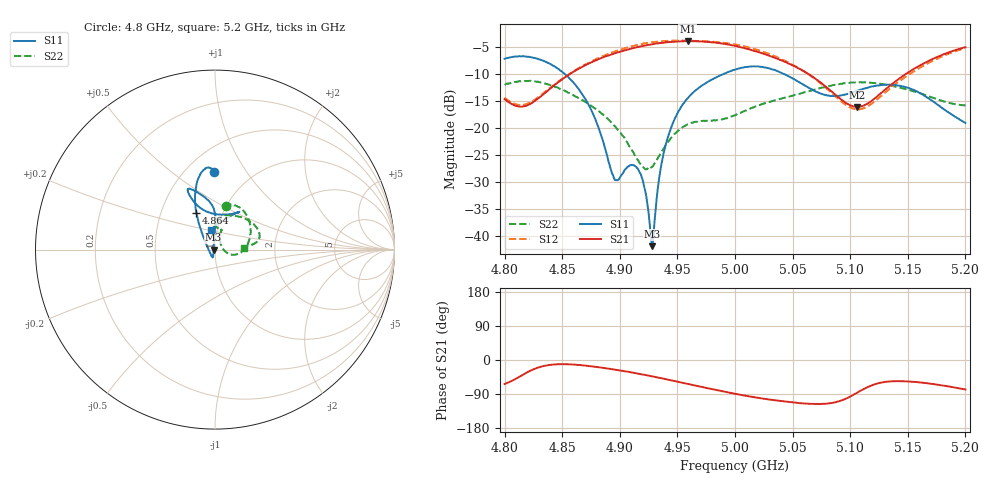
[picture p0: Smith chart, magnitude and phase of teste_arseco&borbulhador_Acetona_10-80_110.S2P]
! Network Analyzer HP8722D
! Hewlett-Packard
! Data name: Linha & Wilkinson
! Saver's name: Rodrigo Anjos
! Comments: Teste da utilização de aquisição
! continua pelo VNA HP8722D
! Time and date: 25/4/2025 16:11
!  Frequency  S11  S21  S12  S22
# HZ  S  MA R 50
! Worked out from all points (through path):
!   401 points, 4.8 GHz to 5.2 GHz, reference 50 ohm
!   highest |S21| = -3.98 dB at 4.959 GHz (marker M1); lowest = -16.1 dB at 5.106 GHz (marker M2)
!   lowest |S11| = -41.8 dB at 4.928 GHz (marker M3), VSWR 1.02, Z = 49.2 - j0.0377 ohm
!   |S11| at or under -10 dB: 4.852 GHz to 4.99 GHz (138.4 MHz wide, 2.81 % of centre); 5.042 GHz to end of sweep
!   |S22| runs from -27.7 to -11.3 dB; largest |S21 - S12| = 1.2
!   S11 on the Smith chart (normalised r, x): 4.8 GHz: 0.68, +0.73; 4.864 GHz: 0.75, +0.33; 5.2 GHz: 0.94, +0.21
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4.8e9  0.4348 90.6  0.1848 -63.3  0.1898 70.0  0.2501 76.4
4.82e9  0.4534 96.9  0.1623 -31.9  0.1678 98.9  0.2714 61.6
4.843e9  0.3713 106.3  0.2472 -11.8  0.2506 119.0  0.2416 36.4
4.864e9  0.2309 116.7  0.3506 -13.0  0.3541 120.9  0.1889 11.8
4.867e9  0.2081 118.4  0.3648 -14.1  0.3693 120.7  0.1821 8.4
4.88e9  0.1112 128.9  0.4238 -18.6  0.4353 118.2  0.1471 -5.6
4.895e9  0.03428 -174.4  0.4859 -25.0  0.5037 113.6  0.1055 -16.0
4.91e9  0.04564 -107.8  0.5402 -32.6  0.5649 107.0  0.06374 -13.5
4.917e9  0.03939 -105.2  0.5627 -36.6  0.5889 103.3  0.04794 -0.8
4.922e9  0.02642 -109.6  0.5753 -39.6  0.6039 100.6  0.0416 16.7
4.928e9  0.008127 -177.3  0.5913 -43.3  0.617 96.9  0.04387 41.8
4.93e9  0.01318 127.3  0.5963 -44.4  0.6203 95.6  0.0469 48.7
4.934e9  0.03348 100.7  0.6047 -47.0  0.6297 93.1  0.05487 58.3
4.944e9  0.09688 90.8  0.6212 -53.3  0.6378 86.6  0.07966 69.3
4.959e9  0.189 89.5  0.6326 -63.1  0.6383 77.1  0.1083 71.5
5e9  0.3456 109.1  0.5725 -89.1  0.5896 50.5  0.1313 88.3
5.029e9  0.3559 115.1  0.4657 -104.0  0.4842 34.2  0.1733 85.6
5.067e9  0.2264 105.1  0.2992 -115.8  0.2962 23.6  0.2226 56.8
5.106e9  0.2197 64.5  0.1563 -86.3  0.1482 56.7  0.2629 24.6
5.134e9  0.2505 57.2  0.2431 -56.6  0.2283 88.7  0.2477 12.3
5.169e9  0.1845 70.1  0.4202 -62.3  0.4038 84.7  0.1944 6.7
5.2e9  0.1112 100.6  0.5551 -77.8  0.5458 69.9  0.1614 3.7
